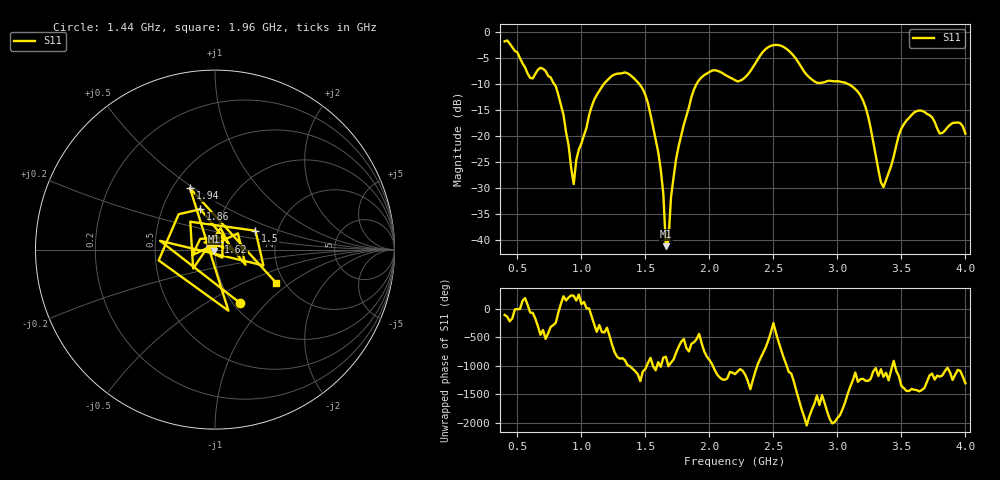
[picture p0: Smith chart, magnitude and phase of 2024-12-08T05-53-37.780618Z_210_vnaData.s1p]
!Created with skrf (http://scikit-rf.org).
# Hz S RI R 50.0
!freq ReS11 ImS11
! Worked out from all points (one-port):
!   181 points, 400 MHz to 4 GHz, reference 50 ohm
!   lowest |S11| = -41.2 dB at 1.66 GHz (marker M1), VSWR 1.02, Z = 49.6 - j0.751 ohm
!   |S11| at or under -10 dB: 788.8 MHz to 1.174 GHz (385.1 MHz wide, 39.2 % of centre); 1.454 GHz to 1.898 GHz (444.5 MHz wide, 26.5 % of centre); 3.087 GHz to end of sweep
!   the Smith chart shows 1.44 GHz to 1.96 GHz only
!   S11 on the Smith chart (normalised r, x): 1.44 GHz: 1.08, -0.72; 1.5 GHz: 1.54, +0.34; 1.62 GHz: 1.04, +0.09; 1.86 GHz: 0.77, +0.37; 1.94 GHz: 0.61, +0.48; 1.96 GHz: 1.81, -0.79
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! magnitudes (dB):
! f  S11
! 400 MHz  -1.7
! 600 MHz  -8.8
! 720 MHz  -7.4
! 860 MHz  -15.9
! 940 MHz  -29.2
! 960 MHz  -24.6
! 1.1 GHz  -13.0
! 1.3 GHz  -7.9
! 1.44 GHz  -9.6
! 1.5 GHz  -12.1
! 1.62 GHz  -26.5
! 1.64 GHz  -31.1
! 1.66 GHz  -41.2
! 1.68 GHz  -40.1
! 1.7 GHz  -31.8
! 1.76 GHz  -21.9
! 1.86 GHz  -12.4
! 1.94 GHz  -8.6
! 1.96 GHz  -8.2
! 2.2 GHz  -9.2
! 2.48 GHz  -2.6
! 2.66 GHz  -4.6
! 2.84 GHz  -9.7
! 3.1 GHz  -10.1
! 3.22 GHz  -14.4
! 3.36 GHz  -29.8
! 3.56 GHz  -16.5
! 4 GHz  -19.5
